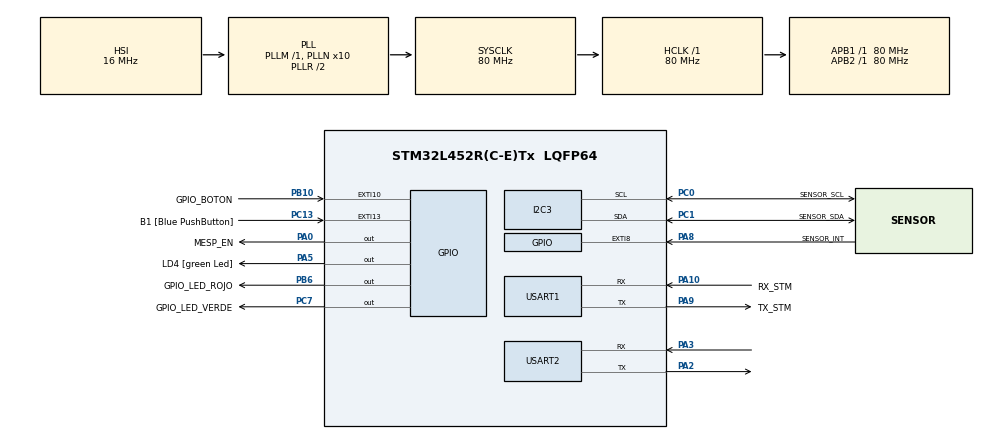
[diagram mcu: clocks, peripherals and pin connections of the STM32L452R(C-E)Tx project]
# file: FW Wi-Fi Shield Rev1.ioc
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I2C3.Timing=0x10909CEC
Mcu.Family=STM32L4
Mcu.Name=STM32L452R(C-E)Tx
Mcu.Package=LQFP64
NVIC.EXTI15_10_IRQn=true\:0\:0\:false\:false\:true\:true\:true\:true
NVIC.PriorityGroup=NVIC_PRIORITYGROUP_4
NVIC.TIM3_IRQn=true\:0\:0\:false\:false\:true\:true\:true\:true
NVIC.USART1_IRQn=true\:0\:0\:false\:false\:true\:true\:true\:true
NVIC.USART2_IRQn=true\:0\:0\:false\:false\:true\:true\:true\:true
PA0.GPIO_Label=MESP_EN
PA0.Signal=GPIO_Output
PA10.GPIO_Label=RX_STM
PA10.Mode=Asynchronous
PA10.Signal=USART1_RX
PA13\ (JTMS/SWDIO).GPIO_Label=TMS
PA13\ (JTMS/SWDIO).Mode=Serial_Wire
PA13\ (JTMS/SWDIO).Signal=SYS_JTMS-SWDIO
PA14\ (JTCK/SWCLK).GPIO_Label=TCK
PA14\ (JTCK/SWCLK).Mode=Serial_Wire
PA14\ (JTCK/SWCLK).Signal=SYS_JTCK-SWCLK
PA2.GPIO_Mode=GPIO_MODE_AF_PP
PA2.GPIO_PuPd=GPIO_NOPULL
PA2.GPIO_Speed=GPIO_SPEED_FREQ_VERY_HIGH
PA2.Mode=Asynchronous
PA2.Signal=USART2_TX
PA3.GPIO_Mode=GPIO_MODE_AF_PP
PA3.GPIO_PuPd=GPIO_NOPULL
PA3.GPIO_Speed=GPIO_SPEED_FREQ_VERY_HIGH
PA3.Mode=Asynchronous
PA3.Signal=USART2_RX
PA5.GPIO_Label=LD4 [green Led]
PA5.GPIO_ModeDefaultOutputPP=GPIO_MODE_OUTPUT_PP
PA5.GPIO_PuPd=GPIO_NOPULL
PA5.GPIO_Speed=GPIO_SPEED_FREQ_LOW
PA5.Signal=GPIO_Output
PA8.GPIO_Label=SENSOR_INT
PA8.Signal=GPXTI8
PA9.GPIO_Label=TX_STM
PA9.Mode=Asynchronous
PA9.Signal=USART1_TX
PB10.GPIO_Label=GPIO_BOTON
PB10.Signal=GPXTI10
PB3\ (JTDO/TRACESWO).GPIO_Label=SWO
PB3\ (JTDO/TRACESWO).Signal=SYS_JTDO-SWO
PB6.GPIO_Label=GPIO_LED_ROJO
PB6.Signal=GPIO_Output
PC0.GPIO_Label=SENSOR_SCL
PC0.Mode=I2C
PC0.Signal=I2C3_SCL
PC1.GPIO_Label=SENSOR_SDA
PC1.Mode=I2C
PC1.Signal=I2C3_SDA
PC13.GPIO_Label=B1 [Blue PushButton]
PC13.GPIO_ModeDefaultEXTI=GPIO_MODE_IT_FALLING
PC13.GPIO_PuPd=GPIO_NOPULL
PC13.Signal=GPXTI13
PC14-OSC32_IN\ (PC14).Mode=LSE-External-Oscillator
PC14-OSC32_IN\ (PC14).Signal=RCC_OSC32_IN
PC15-OSC32_OUT\ (PC15).Mode=LSE-External-Oscillator
PC15-OSC32_OUT\ (PC15).Signal=RCC_OSC32_OUT
PC7.GPIO_Label=GPIO_LED_VERDE
PC7.Signal=GPIO_Output
PH0-OSC_IN\ (PH0).Signal=RCC_OSC_IN
PH1-OSC_OUT\ (PH1).Signal=RCC_OSC_OUT
ProjectManager.HeapSize=0x200
ProjectManager.StackSize=0x400
ProjectManager.TargetToolchain=STM32CubeIDE
RCC.ADCFreq_Value=64000000
RCC.AHBFreq_Value=80000000
RCC.APB1Freq_Value=80000000
RCC.APB1TimFreq_Value=80000000
RCC.APB2Freq_Value=80000000
RCC.APB2TimFreq_Value=80000000
RCC.CortexFreq_Value=80000000
RCC.HCLKFreq_Value=80000000
RCC.HSE_VALUE=8000000
RCC.HSI48_VALUE=48000000
RCC.HSI_VALUE=16000000
RCC.MSI_VALUE=4000000
RCC.PLLN=10
RCC.PLLSourceVirtual=RCC_PLLSOURCE_HSI
RCC.PREFETCH_ENABLE=1
RCC.SYSCLKFreq_VALUE=80000000
RCC.SYSCLKSource=RCC_SYSCLKSOURCE_PLLCLK
RCC.USBFreq_Value=64000000
RCC.VCOOutputFreq_Value=160000000
TIM3.AutoReloadPreload=TIM_AUTORELOAD_PRELOAD_DISABLE
TIM3.Period=10000-1
TIM3.Prescaler=40000-1
USART1.VirtualMode-Asynchronous=VM_ASYNC
USART2.VirtualMode-Asynchronous=VM_ASYNC
VP_TIM3_VS_ClockSourceINT.Mode=Internal
board=NUCLEO-L452RE

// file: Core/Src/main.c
/* USER CODE BEGIN Header */
/**
  ******************************************************************************
  * @file           : main.c
  * @brief          : Main program body
  ******************************************************************************
  * @attention
  *
  * Copyright (c) 2023 STMicroelectronics.
  * All rights reserved.
  *
  * This software is licensed under terms that can be found in the LICENSE file
  * in the root directory of this software component.
  * If no LICENSE file comes with this software, it is provided AS-IS.
  *
  ******************************************************************************
  */
/* USER CODE END Header */
#include "main.h"
#include "i2c.h"
#include "tim.h"
#include "usart.h"
#include "gpio.h"

/* USER CODE BEGIN Includes */
#include "interrupts.h"
#include "at_command.h"
#include "GebraBit_APDS9306.h"
/* USER CODE END Includes */

/* USER CODE BEGIN PTD */
GebraBit_APDS9306 APDS9306_Module;	// struct con los datos del sensor
/* USER CODE END PTD */

/* USER CODE BEGIN PM */
// Mensaje de bienvenida
#define WELCOME_MSG	"ELO301 Wi-Fi Shield\n\rRevisión actual: Rev1\n\r"

#define SENSOR_TEST_EN 0			// Macro para el test del sensor. 1 para testearlo, 0 para el funcionamiento normal
#define SENSOR_TEST_WELCOME_MSG "Modo de prueba del sensor.\n\rPara salir, definir SENSOR_TEST_EN de main.c en 0 y recompilar\n\r"
#define MSG_SIZE 30					// Tamaño del mensaje a enviar por la UART2
#define SENSOR_TEST_DELAY_MS 250	// Delay para mediciones del test
#define TIMEOUT_100MS 100

#define SEND_CLK 0					// 1 para mandar valor del clock en lugar de la medición del sensor
#define CON_TEST 0					// 1 para probar conexión
/* USER CODE END PM */

/* USER CODE BEGIN PV */
enum ESTADO estado=WAIT_ESP;		//Variable que identifica el estado del sistema (FSM).
int BTN=0;							//1 si se resionó el botón, 0 eoc.
enum ESP_ESTADO esp_connect=WAIT;	//resultado de la conexión a internet de la ESP.
enum ESP_ESTADO esp_envio=WAIT; 	//resultado del envío de datos.
volatile char msg;
int disc=0;
int ESP_OK=0;
int ESP_READY=0;
int count=0;
//int timeout=1;
int NI=1;
enum LEDS leds=OFF;					//estado de los leds de estado.
int Q_OK=0;
extern uint8_t rx_buffer;
float luminosidad;					// luminosidad medida
int luminosidad_int;				// luminosidad en entero
/* USER CODE END PV */

void SystemClock_Config(void);

int main(void)
{
  /* USER CODE BEGIN 1 */
	//enum ESTADO estado=WAIT_ESP;		//Variable que identifica el estado del sistema (FSM).
	int intentos=0;						//Contador de intentos de conexión.

	uint32_t timeout=0;
	uint32_t DELAY = 2000;
							//1 para ESP lista para trabajar, 0 eoc.
	//int BTN=0;							//1 si se resionó el botón, 0 eoc.
	int reconexion=0;					//1 si se intenta reconexión, 0 eoc.
	chg_led_state(leds);				//al iniciar el sistema se apagan los leds (estado de WAIT_ESP)
	uint32_t time;
	uint8_t text[10];
	memset(text,"\0",10);
	/* USER CODE END 1 */

  /* MCU Configuration--------------------------------------------------------*/

  /* Reset of all peripherals, Initializes the Flash interface and the Systick. */
  HAL_Init();

  /* USER CODE BEGIN Init */
  // Conectarse a ESP

  /* USER CODE END Init */

  /* Configure the system clock */
  SystemClock_Config();

  /* Initialize all configured peripherals */
  MX_GPIO_Init();
  MX_USART2_UART_Init();
  MX_I2C3_Init();
  MX_TIM3_Init();
  MX_USART1_UART_Init();
  /* USER CODE BEGIN 2 */

  char medicion_uart[MSG_SIZE];	// mensaje a mandar por UART
  GB_APDS9306_initialize(&APDS9306_Module);
  GB_APDS9306_Configuration(&APDS9306_Module);

#if SENSOR_TEST_EN
  /* Test del sensor:
   * 	- Leer ID del sensor y printear su ID
   * 	- Tomar mediciones cada cierto tiempo definido por SENSOR_TEST_DELAY_MS y enviarlas por la UART2 como texto
   */
  //char msg[MSG_SIZE];	// mensaje a mandar por UART
  //float luminosidad;	// la variable que extrae la medición de luminosidad
  //int luminosidad_int;	// luminosidad como entero para poder usar sprintf sin reconfigurar el proyecto
  /* Inicializar struct del sensor
   * 	De esto interesa conseguir al miembro PART_ID del struct para identificar el sensor
   */
  GB_APDS9306_initialize(&APDS9306_Module);
  GB_APDS9306_Configuration(&APDS9306_Module);

  // Mensaje de bienvenida
  HAL_UART_Transmit(&huart2, (uint8_t*) SENSOR_TEST_WELCOME_MSG, strlen(SENSOR_TEST_WELCOME_MSG),TIMEOUT_100MS);

  // Obtener ID del sensor y mandarla por UART
  sprintf(msg, "ID: %02X\n\r",APDS9306_Module.PART_ID);
  HAL_UART_Transmit(&huart2, (uint8_t*) msg, strlen(msg), TIMEOUT_100MS);

  /* Loop infinito: Tomar mediciones cada 1 segundo permanentemente
   * 	Cada medición tomada se registra en el miembro LUMINOSITY del struct APDS9306_Module
   * 	Ojo! Mide en float, por lo que puede que sprintf tire error si no se reconfigura el proyecto
   */

  while(1){
	  // Obtener medición
	  GB_APDS9306_Get_Data(&APDS9306_Module);

	  // Cast como INT para evitar reconfigurar MCU porque sprintf tiene mañas con los float
	  luminosidad = APDS9306_Module.LUMINOSITY;	// rescatar luminosidad del struct
      luminosidad_int = (int) luminosidad;

      // Generar mensaje y enviarlo por UART2
      sprintf(msg, ">>Medición: %d\n\r",luminosidad_int);	// Va desde 0 (oscuro) a 873810 (luz solar directa)
      HAL_UART_Transmit_IT(&huart2, (uint8_t*) msg, strlen(msg));
      HAL_Delay(SENSOR_TEST_DELAY_MS);

  }
#endif

  HAL_UART_Transmit(&huart2, (uint8_t*) WELCOME_MSG, strlen(WELCOME_MSG),TIMEOUT_100MS);
  /* USER CODE END 2 */

  /* Infinite loop */
  /* USER CODE BEGIN WHILE */
  HAL_UART_Receive_IT(&huart1, (uint8_t*) &msg, 1);
  resetModule();
  //HAL_UART_Transmit_IT(&huart1, "ATE0\r\n", 6);
  while (1){
	  switch(estado){
	  	  case WAIT_ESP:
	  		//HAL_UART_Transmit(&huart2, "HOLA\r\n", 6, 100);
	  		  if(ESP_OK){
		  		  reconexion=0;
	  			  intentos=0;
	  			  esp_connect=FAIL;

#if CON_TEST
	  			  HAL_UART_Transmit_IT(&huart1, "AT+CWQAP\r\n", 10);
	  			  estado=QUERY_CONEXION;
#else
	  			  setModeToStation();
	  			  HAL_UART_Transmit(&huart2, rx_buffer, sizeof(rx_buffer), TIMEOUT_100MS);
	  			  estado=WAIT_OK_ESP;
	  			  ESP_READY=0;
#endif
	  			  ESP_OK=0;
	  		  }
	  		  else{
	  			  estado=WAIT_ESP;
	  		  }
			  break;
	  	  case QUERY_CONEXION:
	  		  if(Q_OK){
	  			  setModeToStation();
	  			  HAL_UART_Transmit(&huart2, rx_buffer, sizeof(rx_buffer), TIMEOUT_100MS);
	  			  estado=WAIT_OK_ESP;
	  			  Q_OK=0;
	  		  }
	  		  else{
	  			  estado=QUERY_CONEXION;
	  		  }
	  		  ESP_READY=0;
	  		  break;
	  	  case WAIT_OK_ESP:
  			  if(ESP_READY==1){
  				HAL_UART_Transmit(&huart2, rx_buffer, sizeof(rx_buffer), TIMEOUT_100MS);
  				estado=ESTABLECER_CONEXION_WI_FI;
  				ESP_READY=0;
  			  }
  			  else{
  				  estado=WAIT_OK_ESP;
  			  }
  			  break;
	  	  case ESTABLECER_CONEXION_WI_FI:
	  		  estado=ESTABLECER_CONEXION_WI_FI;
	  		  if((intentos<3)&&(esp_connect==FAIL)){		//3 intentos para establecer conexión
	  			  //mandar comando AT para conexión
	  			  setAPcnx();
	  			  intentos+=1;
	  			  if (intentos != 3){
	  				  esp_connect=WAIT;
	  				  estado=ESTABLECER_CONEXION_WI_FI;
	  			  }
	  			  else{
	  				  estado=ESTABLECER_CONEXION_WI_FI;
	  			  }
	  		  }
	  		  else if((esp_connect==OK)&&(reconexion==0)){	//Correcta conexión por primera vez
	  		  	  leds=CONEXION_EXITOSA;
	  			  chg_led_state(leds);
	  			  estado=CONECTADO;
	  		  }
	  		  else if((esp_connect==OK)&&(reconexion==1)){	//Reconexión para volver a intentar el envío de datos
	  			  leds=BUSY;
	  			  chg_led_state(leds);
	  			  esp_envio=WAIT;
	  			  estado=ENVIAR_DATOS;
	  		  }
	  		  else if((esp_connect==FAIL)&&(intentos==3)){	//Falla la conexión, se reinicia la ESP
	  			  ESP_OK=0;
	  			  leds=FALLO_CRITICO;
	  			  chg_led_state(leds);
	  			  timeout=HAL_GetTick();
	  			  estado=FALLO_CONEXION;
	  		  }
	  		  else{
	  			  estado=ESTABLECER_CONEXION_WI_FI;
	  		  }
	  		  break;
	  	  case CONECTADO:
	  		  if(BTN && disc==0){//Hay que recolectar y enviar datos
	  			  leds=BUSY;
	  			  chg_led_state(leds);
	  			  //lee sensor
	  			  GB_APDS9306_Get_Data(&APDS9306_Module);

	  			  esp_envio=WAIT;
	  			  BTN=0;
	  			  estado=ENVIAR_DATOS;
	  		  }
	  		  else if(disc==1){
	  			  disc=0;
	  			  estado=ESTABLECER_CONEXION_WI_FI;
	  		  }
	  		  else{
	  			  estado=CONECTADO;
	  		  }
	  		  break;
	  	  case ENVIAR_DATOS:
#if SEND_CLK
	  		  // Mandar valor actual del CLK
	  		  time=HAL_GetTick();
	  		  memset(text,"\0",10);
	  		  sprintf(text,"%d",time);
	  		  sendSensorData((uint8_t*)text);

#else
	  		  // Mandar medición del sensor
	  		  // Cast como INT para evitar reconfigurar MCU porque sprintf tiene mañas con los float
	  		  luminosidad = APDS9306_Module.LUMINOSITY;	// rescatar luminosidad del struct
	  	      luminosidad_int = (int) luminosidad;
	  	      sprintf(text,"%d",luminosidad_int);
	  	      sprintf(medicion_uart, ">>Medición: %d\n\r",luminosidad_int);	// Va desde 0 (oscuro) a 873810 (luz solar directa)
	  	      HAL_UART_Transmit_IT(&huart2, (uint8_t*) medicion_uart, strlen(medicion_uart));
	  		  sendSensorData((uint8_t*)text);
#endif
	  		  estado=WAIT_ENVIAR_DATOS;
	  		  break;
	  	  case WAIT_ENVIAR_DATOS:
	  		  if(esp_envio==OK){//se enviaron correctamente los datos
	  			  leds=CONEXION_EXITOSA;
	  			  chg_led_state(leds);
	  			  estado=CONECTADO;
	  		  }
	  		  else if(esp_envio==FAIL){//Fallo al enviar datos
	  			  timeout=HAL_GetTick();
	  			  estado=PERDIO_CONEXION;
	  		  }
	  		  else{
	  			  estado=WAIT_ENVIAR_DATOS;
	  		  }
	  		  break;
	  	  case PERDIO_CONEXION:
			leds=FALLO_CRITICO;
	  		chg_led_state(leds);
	  		reconexion=1;
	  		esp_connect=FAIL; //CAMBIADO A FAIL, PARA QUE INTENTE CONETARSE
	  		intentos=0;
	  		if((timeout+DELAY) <= HAL_GetTick()){
	  			leds=OFF;
	  			timeout=0;
	  			chg_led_state(leds);
	  			estado=ESTABLECER_CONEXION_WI_FI;
	  		}
	  		else{
	  			estado=PERDIO_CONEXION;
	  		}
	  		break;
	  	  case FALLO_CONEXION:
	  		if((timeout+DELAY) <= HAL_GetTick()){
	  			resetModule();
	  			leds=OFF;
	  			timeout=0;
	  			ESP_OK=0;
	  			chg_led_state(leds);
	  			estado=WAIT_ESP;
	  		}
	  		else{
	  			estado=FALLO_CONEXION;
	  		}
	  		break;

	  };
    /* USER CODE END WHILE */

  }
}

void SystemClock_Config(void)
{
  RCC_OscInitTypeDef RCC_OscInitStruct = {0};
  RCC_ClkInitTypeDef RCC_ClkInitStruct = {0};

  /** Configure the main internal regulator output voltage
  */
  if (HAL_PWREx_ControlVoltageScaling(PWR_REGULATOR_VOLTAGE_SCALE1) != HAL_OK)
  {
    Error_Handler();
  }

  /** Initializes the RCC Oscillators according to the specified parameters
  * in the RCC_OscInitTypeDef structure.
  */
  RCC_OscInitStruct.OscillatorType = RCC_OSCILLATORTYPE_HSI;
  RCC_OscInitStruct.HSIState = RCC_HSI_ON;
  RCC_OscInitStruct.HSICalibrationValue = RCC_HSICALIBRATION_DEFAULT;
  RCC_OscInitStruct.PLL.PLLState = RCC_PLL_ON;
  RCC_OscInitStruct.PLL.PLLSource = RCC_PLLSOURCE_HSI;
  RCC_OscInitStruct.PLL.PLLM = 1;
  RCC_OscInitStruct.PLL.PLLN = 10;
  RCC_OscInitStruct.PLL.PLLP = RCC_PLLP_DIV7;
  RCC_OscInitStruct.PLL.PLLQ = RCC_PLLQ_DIV2;
  RCC_OscInitStruct.PLL.PLLR = RCC_PLLR_DIV2;
  if (HAL_RCC_OscConfig(&RCC_OscInitStruct) != HAL_OK)
  {
    Error_Handler();
  }

  /** Initializes the CPU, AHB and APB buses clocks
  */
  RCC_ClkInitStruct.ClockType = RCC_CLOCKTYPE_HCLK|RCC_CLOCKTYPE_SYSCLK
                              |RCC_CLOCKTYPE_PCLK1|RCC_CLOCKTYPE_PCLK2;
  RCC_ClkInitStruct.SYSCLKSource = RCC_SYSCLKSOURCE_PLLCLK;
  RCC_ClkInitStruct.AHBCLKDivider = RCC_SYSCLK_DIV1;
  RCC_ClkInitStruct.APB1CLKDivider = RCC_HCLK_DIV1;
  RCC_ClkInitStruct.APB2CLKDivider = RCC_HCLK_DIV1;

  if (HAL_RCC_ClockConfig(&RCC_ClkInitStruct, FLASH_LATENCY_4) != HAL_OK)
  {
    Error_Handler();
  }
}

void Error_Handler(void)
{
  __disable_irq();
  while (1)
  {
  }
}
